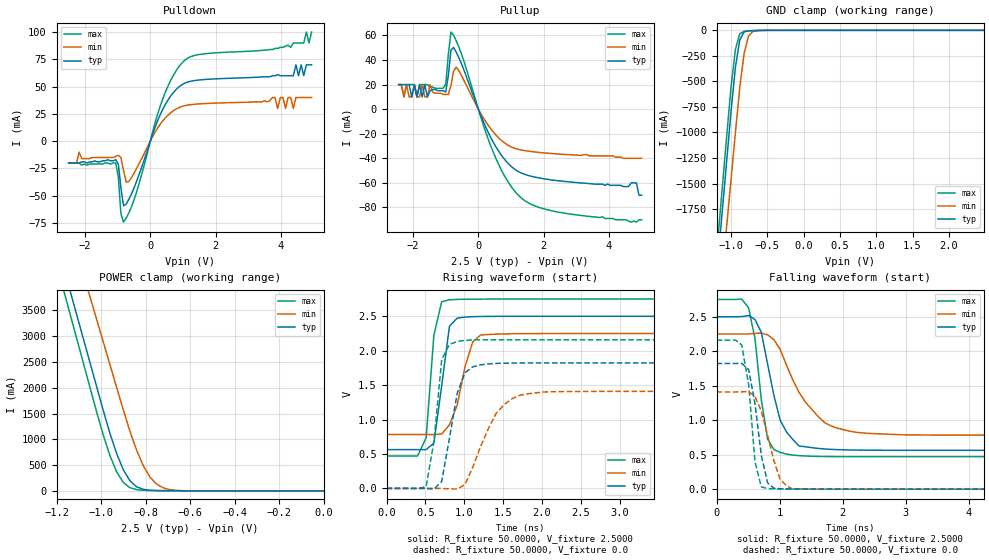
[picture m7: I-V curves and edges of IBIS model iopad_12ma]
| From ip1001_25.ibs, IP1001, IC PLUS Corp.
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|   Model iopad_12ma
[Model]  iopad_12ma
Model_type I/O
Polarity   Non-Inverting
Enable   Active-Low
Vinl =   0.8000V
Vinh =   1.8000V
Vmeas =  1.2500V
C_comp   0.3000pF   0.2400pF   0.3600pF
[Temperature Range]   27.0000   100.0000   0.0
[Voltage Range]   2.5000V   2.2500V   2.7500V
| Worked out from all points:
|   slope of the pulldown table from 0 to 0.375 V, typ, clamps not added: 13 ohm
|   slope of the pullup table from 0 to 0.375 V, typ, clamps not added: 16.4 ohm
|   GND clamp passes 1 mA (typ) near -0.63 V on its own axis
|   POWER clamp passes 1 mA (typ) near -0.57 V on its own axis
|   rising waveform, R_fixture 50.0000, V_fixture 2.5000: 20-80 % time 137ps typ, 199ps min, 101ps max; typ from 0.563 V to 2.5 V
|   rising waveform, R_fixture 50.0000, V_fixture 0.0: 20-80 % time 184ps typ, 341ps min, 126ps max; typ from 0 V to 1.82 V
|   falling waveform, R_fixture 50.0000, V_fixture 2.5000: 20-80 % time 293ps typ, 550ps min, 190ps max; typ from 2.5 V to 0.563 V
|   falling waveform, R_fixture 50.0000, V_fixture 0.0: 20-80 % time 176ps typ, 247ps min, 138ps max; typ from 1.82 V to 0 V
[Pulldown]
|Voltage   I(typ)   I(min)   I(max)
-2.5V     -20mA      -20mA      -20mA
-1.06V    -17mA      -14mA      -20mA
-980mV    -21mA      -13mA      -32.8mA
-900mV    -42.8mA    -15.1mA    -66.46mA
-820mV    -59.24mA   -26.7mA    -74.29mA
-660mV    -53.56mA   -37.13mA   -65.92mA
380mV     29.09mA    18.51mA    38.61mA
1.02V     52.68mA    32.28mA    73.2mA
4.14V     60mA       30mA       87mA
4.3V      60mA       40mA       86mA
4.38V     60mA       30mA       90mA
4.94V     70mA       40mA       100mA
[Pullup]
|Voltage   I(typ)   I(min)   I(max)
-2.44V    20mA       20mA       20mA
-2.28V    20mA       10mA       10mA
-2.2V     20mA       20mA       20mA
-2.12V    20mA       10mA       20mA
-1.96V    20mA       20mA       20mA
-1.08V    15mA       12mA       17mA
-1V       14mA       12mA       20mA
-840mV    47.96mA    19.2mA     62.75mA
-680mV    46.5mA     34.19mA    55.76mA
440mV     -26.1mA    -18.02mA   -33.9mA
1.24V     -51mA      -32.83mA   -70.43mA
5V        -70mA      -40mA      -90mA
[GND_clamp]
|Voltage   I(typ)   I(min)   I(max)
-2.5V     -12.93A    -12.87A    -12.97A
-1.18V    -2.249A    -2.828A    -2.033A
-1.12V    -1.763A    -2.371A    -1.535A
-1.06V    -1.278A    -1.914A    -1.038A
-1V       -792.5mA   -1.458A    -553.9mA
-940mV    -360.7mA   -1.001A    -186.7mA
-880mV    -94.64mA   -559.3mA   -34.17mA
-820mV    -15.98mA   -224.8mA   -9.643mA
-760mV    -4.328mA   -57.1mA    -5.898mA
-700mV    -2.122mA   -10.8mA    -4.108mA
-640mV    -1.103mA   -2.066mA   -2.655mA
2.48V     17.28pA    560.9nA    -93.93pA
[POWER_clamp]
|Voltage   I(typ)   I(min)   I(max)
-2.49V    24.9A      24.89A     24.94A
-1.17V    4.361A     5.529A     3.923A
-1.14V    3.894A     5.089A     3.445A
-1.11V    3.427A     4.649A     2.967A
-1.05V    2.493A     3.769A     2.012A
-960mV    1.115A     2.449A     684.3mA
-900mV    410.3mA    1.569A     163.2mA
-870mV    195.4mA    1.152A     62.28mA
-810mV    30.55mA    484.8mA    12.48mA
-750mV    6.57mA     129.6mA    6.615mA
-630mV    1.841mA    4.742mA    3.357mA
0V        80.13pA    246.2pA    118.4pA
[Ramp]
| variable   typ   min   max
dV/dt_r  1.0932/0.1837n   0.8454/0.3382n   1.2954/0.1261n
dV/dt_f  1.1620/0.2934n   0.8802/0.5396n   1.3677/0.1903n
R_load = 50.0000
[Rising Waveform]
R_fixture= 50.0000
V_fixture= 2.5000
V_fixture_min= 2.2500
V_fixture_max= 2.7500
|time   V(typ)   V(min)   V(max)
0s        563.3mV    783mV      470.5mV
400ps     563.1mV    783mV      471.1mV
510ps     563.3mV    783.1mV    734.9mV
610ps     659.1mV    781.1mV    2.23V
710ps     1.49V      789.7mV    2.711V
810ps     2.355V     923.5mV    2.739V
910ps     2.474V     1.209V     2.745V
1.11ns    2.494V     2.128V     2.749V
1.21ns    2.497V     2.227V     2.749V
10ns      2.5V       2.25V      2.75V
[Rising Waveform]
R_fixture= 50.0000
V_fixture= 0.0
V_fixture_min= 0.0
V_fixture_max= 0.0
|time   V(typ)   V(min)   V(max)
0s        0V         0V         0V
510ps     -1.857mV   -4.31uV    26.43mV
610ps     -11.37mV   296.8uV    679.2mV
710ps     100mV      -1.059mV   1.868V
810ps     729mV      -7.641mV   2.091V
910ps     1.381V     -10.02mV   2.134V
1.01ns    1.679V     55.26mV    2.15V
1.41ns    1.815V     1.089V     2.159V
1.82ns    1.822V     1.374V     2.159V
10ns      1.822V     1.409V     2.159V
[Falling Waveform]
R_fixture= 50.0000
V_fixture= 2.5000
V_fixture_min= 2.2500
V_fixture_max= 2.7500
|time   V(typ)   V(min)   V(max)
0s        2.5V       2.25V      2.75V
510ps     2.517V     2.25V      2.628V
610ps     2.46V      2.259V     2.183V
710ps     2.276V     2.263V     1.303V
810ps     1.814V     2.237V     726.4mV
1.01ns    999.3mV    2.028V     533.8mV
1.11ns    830mV      1.799V     508.2mV
1.62ns    589.9mV    1.046V     474.6mV
2.22ns    566.8mV    823.4mV    470.7mV
10ns      563.3mV    783mV      470.5mV
[Falling Waveform]
R_fixture= 50.0000
V_fixture= 0.0
V_fixture_min= 0.0
V_fixture_max= 0.0
|time   V(typ)   V(min)   V(max)
0s        1.822V     1.409V     2.159V
300ps     1.822V     1.409V     2.162V
400ps     1.824V     1.411V     2.091V
510ps     1.732V     1.416V     1.514V
610ps     1.244V     1.342V     398.6mV
710ps     494.7mV    1.134V     33.22mV
810ps     92.11mV    781.3mV    8.066mV
1.01ns    6.713mV    143.2mV    2.691mV
1.21ns    2.643mV    2.798mV    1.135mV
10ns      -3.937uV   755nV      0V
